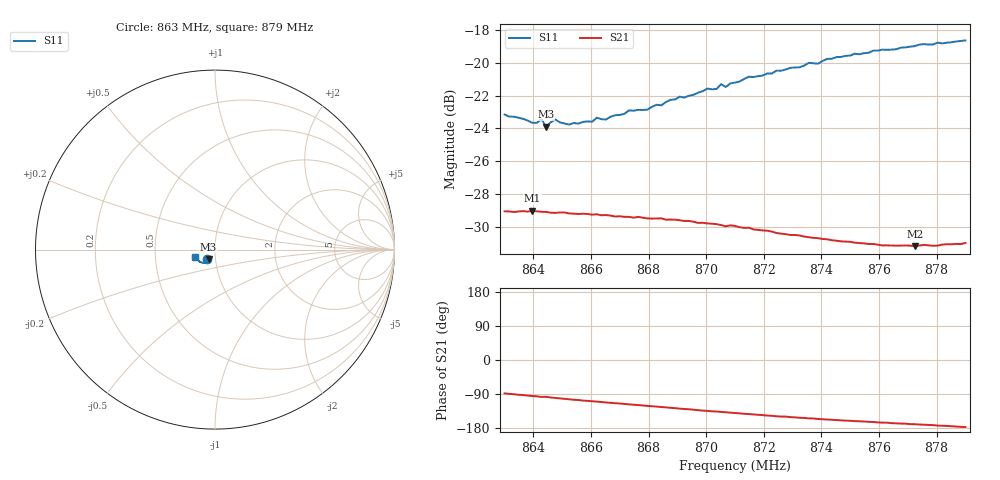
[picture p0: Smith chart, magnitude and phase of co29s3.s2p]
# HZ S RI R 50
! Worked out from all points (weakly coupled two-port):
!   101 points, 863 MHz to 879 MHz, reference 50 ohm
!   highest |S21| = -29.03 dB at 863.96 MHz (marker M1); lowest = -31.2 dB at 877.24 MHz (marker M2)
!   lowest |S11| = -23.9 dB at 864.44 MHz (marker M3), VSWR 1.14, Z = 46.3 - j4.91 ohm
!   |S11| at or under -10 dB: start of sweep to end of sweep
!   S12 and S22 are empty: the file has one direction only
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8.63e8  -0.0451 -0.053  0.0012 -0.0352  0 0  0 0
8.6396e8  -0.0396 -0.0524  -0.00311 -0.0352  0 0  0 0
8.6428e8  -0.0395 -0.0546  -0.00457 -0.0348  0 0  0 0
8.6444e8  -0.036 -0.0528  -0.00432 -0.0348  0 0  0 0
8.6476e8  -0.0386 -0.055  -0.00617 -0.0343  0 0  0 0
8.6524e8  -0.0362 -0.0538  -0.00821 -0.0337  0 0  0 0
8.6572e8  -0.0356 -0.0557  -0.0102 -0.0331  0 0  0 0
8.6604e8  -0.0339 -0.0568  -0.0111 -0.0326  0 0  0 0
8.662e8  -0.0352 -0.0583  -0.0116 -0.0325  0 0  0 0
8.6652e8  -0.0328 -0.0587  -0.0129 -0.0318  0 0  0 0
8.6732e8  -0.0353 -0.0624  -0.0154 -0.0302  0 0  0 0
8.6796e8  -0.035 -0.063  -0.0174 -0.0286  0 0  0 0
8.6844e8  -0.0353 -0.0653  -0.0188 -0.0278  0 0  0 0
8.6908e8  -0.0397 -0.0682  -0.0205 -0.0259  0 0  0 0
8.6924e8  -0.0384 -0.0684  -0.0208 -0.0254  0 0  0 0
8.71e8  -0.0477 -0.073  -0.0243 -0.0205  0 0  0 0
8.7148e8  -0.0517 -0.0747  -0.025 -0.019  0 0  0 0
8.7372e8  -0.0671 -0.074  -0.0264 -0.0126  0 0  0 0
8.7516e8  -0.0811 -0.0696  -0.0267 -0.00909  0 0  0 0
8.7644e8  -0.0907 -0.0621  -0.0269 -0.00642  0 0  0 0
8.7724e8  -0.0974 -0.0567  -0.0271 -0.00508  0 0  0 0
8.79e8  -0.11 -0.0406  -0.0281 -0.00151  0 0  0 0
